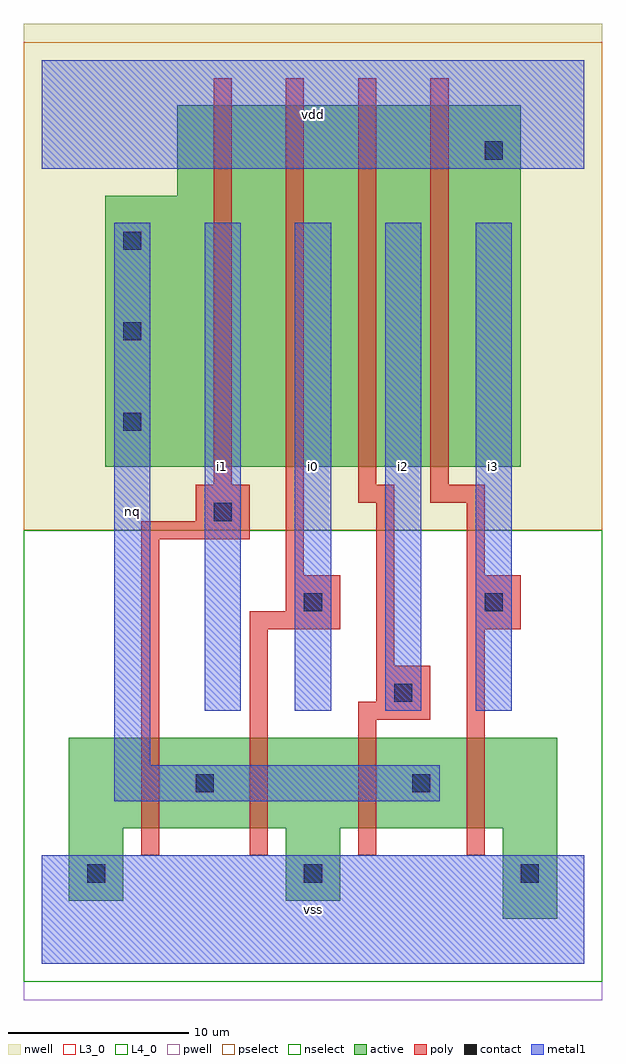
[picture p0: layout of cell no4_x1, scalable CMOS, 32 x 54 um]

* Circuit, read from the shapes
.subckt no4_x1 i0 i1 i2 i3 nq vdd vss
M1 nq i1 vss VSUBS nfet w=5u l=1u
M2 vss i0 nq VSUBS nfet w=5u l=1u
M3 nq i2 vss VSUBS nfet w=5u l=1u
M4 vss i3 nq VSUBS nfet w=5u l=1u
M5 n1 i1 nq n2 pfet w=20u l=1u
M6 n3 i0 n1 n2 pfet w=20u l=1u
M7 n4 i2 n3 n2 pfet w=20u l=1u
M8 vdd i3 n4 n2 pfet w=20u l=1u
.ends

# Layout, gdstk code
import gdstk
lib = gdstk.Library(unit=1e-6, precision=1e-09)
def R(c, l, rs):  # rectangles x0, y0, x1, y1
    for r in rs: c.add(gdstk.rectangle(r[:2], r[2:], *l))
def A(c, l, x, y, w, h, nx, ny, dx, dy):  # array of equal rectangles
    R(c, l, [(x+i*dx, y+j*dy, x+i*dx+w, y+j*dy+h) for i in range(nx) for j in range(ny)])
L3_0 = (3, 0)
L4_0 = (4, 0)
contact = (25, 0)
pwell = (41, 0)
nwell = (42, 0)
active = (43, 0)
pselect = (44, 0)
nselect = (45, 0)
poly = (46, 0)
metal1 = (49, 0)

no4_x1 = lib.new_cell('no4_x1')
R(no4_x1, L3_0, [(25.5,2.5,28.5,7.5), (1.5,3.5,4.5,7.5), (13.5,3.5,16.5,7.5), (1.5,7.5,28.5,12.5)])
R(no4_x1, L4_0, [(3.5,27.5,26.5,42.5), (7.5,42.5,26.5,47.5)])
A(no4_x1, contact, 2.5, 4.5, 1, 1, 3, 1, 12, 0)
A(no4_x1, contact, 4.5, 29.5, 1, 1, 1, 3, 0, 5)
R(no4_x1, contact, [(8.5,9.5,9.5,10.5), (20.5,9.5,21.5,10.5), (19.5,14.5,20.5,15.5), (14.5,19.5,15.5,20.5), (24.5,19.5,25.5,20.5), (9.5,24.5,10.5,25.5), (24.5,44.5,25.5,45.5)])
R(no4_x1, pwell, [(-1,-2,31,24)])
R(no4_x1, nwell, [(-1,24,31,52)])
R(no4_x1, active, [(25.5,2.5,28.5,7.5), (1.5,3.5,4.5,7.5), (13.5,3.5,16.5,7.5), (1.5,7.5,28.5,12.5), (3.5,27.5,26.5,42.5), (7.5,42.5,26.5,47.5)])
R(no4_x1, pselect, [(-1,24,31,51)])
R(no4_x1, nselect, [(-1,-1,31,24)])
R(no4_x1, poly, [(5.5,6,6.5,23.5), (11.5,6,12.5,18.5), (17.5,6,18.5,13.5), (23.5,6,24.5,18.5), (17.5,13.5,21.5,14.5), (18.5,14.5,21.5,16.5), (18.5,16.5,19.5,25.5), (11.5,18.5,16.5,19.5), (23.5,18.5,26.5,21.5), (13.5,19.5,16.5,21.5), (13.5,21.5,14.5,49), (23.5,21.5,24.5,25.5), (5.5,23.5,11.5,24.5), (8.5,24.5,11.5,26.5), (17.5,25.5,19.5,26.5), (21.5,25.5,24.5,26.5), (9.5,26.5,10.5,49), (17.5,26.5,18.5,49), (21.5,26.5,22.5,49)])
A(no4_x1, metal1, 9, 14, 2, 27, 4, 1, 5, 0)
R(no4_x1, metal1, [(0,0,30,6), (4,9,22,11), (4,11,6,41), (0,44,30,50)])
no4_x1.add(gdstk.Label('nq', (5,25), layer=49, texttype=0))
no4_x1.add(gdstk.Label('i1', (10,27.5), layer=49, texttype=0))
no4_x1.add(gdstk.Label('vss', (15,3), layer=49, texttype=0))
no4_x1.add(gdstk.Label('i2', (20,27.5), layer=49, texttype=0))
no4_x1.add(gdstk.Label('i0', (15,27.5), layer=49, texttype=0))
no4_x1.add(gdstk.Label('vdd', (15,47), layer=49, texttype=0))
no4_x1.add(gdstk.Label('i3', (25,27.5), layer=49, texttype=0))

lib.write_gds('no4_x1.gds')
